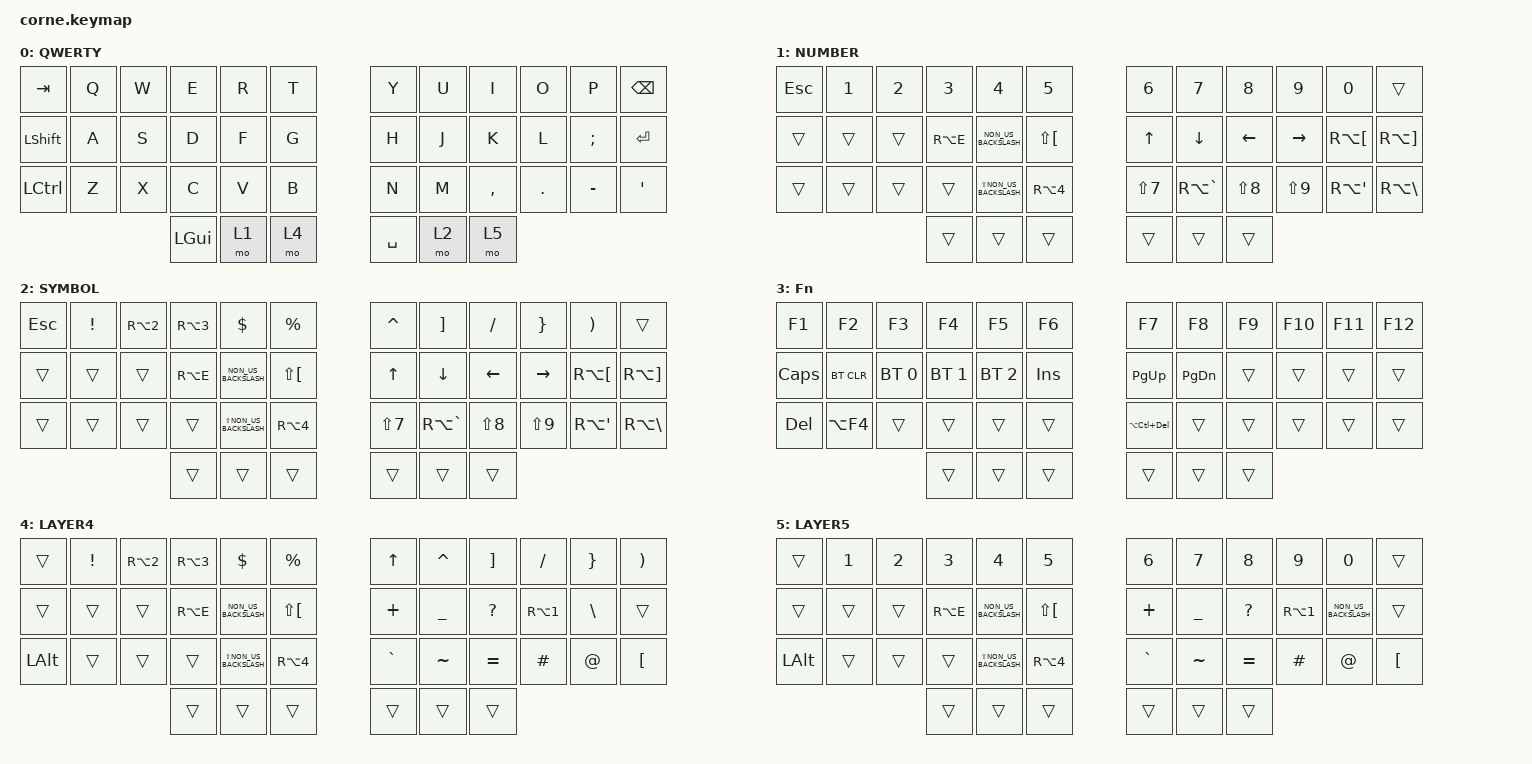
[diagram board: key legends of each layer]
#include <behaviors.dtsi>
#include <dt-bindings/zmk/bt.h>
#include <dt-bindings/zmk/keys.h>

/ {
    behaviors {
        td0: td0 {
            compatible = "zmk,behavior-tap-dance";
            display-name = "Shift/Caps Lock Tap Dance";
            #binding-cells = <0>;
            bindings = <&kp LEFT_SHIFT>, <&kp CAPS>;
        };
    };

    combos {
        compatible = "zmk,combos";

        // Example: Optional combo. If you don't want any, you can remove this block.
    };

    keymap {
        compatible = "zmk,keymap";

        default_layer {
            display-name = "QWERTY";
            bindings = <
&kp TAB         &kp Q  &kp W  &kp E     &kp R  &kp T    &kp Y      &kp U  &kp I      &kp O    &kp P      &kp BSPC
&kp LEFT_SHIFT  &kp A  &kp S  &kp D     &kp F  &kp G    &kp H      &kp J  &kp K      &kp L    &kp SEMI   &kp ENTER
&kp LCTRL       &kp Z  &kp X  &kp C     &kp V  &kp B    &kp N      &kp M  &kp COMMA  &kp DOT  &kp MINUS  &kp SQT
                              &kp LGUI  &mo 1  &mo 4    &kp SPACE  &mo 2  &mo 5
            >;
        };

        lower_layer {
            display-name = "NUMBER";
            bindings = <
&kp ESCAPE  &kp N1  &kp N2  &kp N3     &kp N4                    &kp N5                  &kp N6            &kp N7         &kp N8          &kp N9      &kp N0                &trans
&trans      &trans  &trans  &kp RA(E)  &kp NON_US_BACKSLASH      &kp LS(LEFT_BRACKET)    &kp UP_ARROW      &kp DOWN       &kp LEFT_ARROW  &kp RIGHT   &kp RA(LEFT_BRACKET)  &kp RA(RIGHT_BRACKET)
&trans      &trans  &trans  &trans     &kp LS(NON_US_BACKSLASH)  &kp RA(NUMBER_4)        &kp LS(NUMBER_7)  &kp RA(GRAVE)  &kp LS(N8)      &kp LS(N9)  &kp RA(SQT)           &kp RA(BACKSLASH)
                            &trans     &trans                    &trans                  &trans            &trans         &trans
            >;
        };

        raise_layer {
            display-name = "SYMBOL";
            bindings = <
&kp ESC  &kp EXCLAMATION  &kp RA(NUMBER_2)  &kp RA(NUMBER_3)  &kp DOLLAR                &kp PRCNT               &kp CARET     &kp RIGHT_BRACKET  &kp SLASH   &kp RIGHT_BRACE  &kp RPAR              &trans
&trans   &trans           &trans            &kp RA(E)         &kp NON_US_BACKSLASH      &kp LS(LEFT_BRACKET)    &kp UP_ARROW  &kp DOWN           &kp LEFT    &kp RIGHT        &kp RA(LEFT_BRACKET)  &kp RA(RIGHT_BRACKET)
&trans   &trans           &trans            &trans            &kp LS(NON_US_BACKSLASH)  &kp RA(NUMBER_4)        &kp LS(N7)    &kp RA(GRAVE)      &kp LS(N8)  &kp LS(N9)       &kp RA(SQT)           &kp RA(BACKSLASH)
                                            &trans            &trans                    &trans                  &trans        &trans             &trans
            >;
        };

        layer_3 {
            display-name = "Fn";
            bindings = <
&kp F1    &kp F2      &kp F3        &kp F4        &kp F5        &kp F6     &kp F7              &kp F8         &kp F9  &kp F10  &kp F11  &kp F12
&kp CAPS  &bt BT_CLR  &bt BT_SEL 0  &bt BT_SEL 1  &bt BT_SEL 2  &kp INS    &kp PAGE_UP         &kp PAGE_DOWN  &trans  &trans   &trans   &trans
&kp DEL   &kp LA(F4)  &trans        &trans        &trans        &trans     &kp LA(LC(DELETE))  &trans         &trans  &trans   &trans   &trans
                                    &trans        &trans        &trans     &trans              &trans         &trans
            >;
        };

        layer_4 {
            display-name = "LAYER4";
            bindings = <
&trans    &kp EXCLAMATION  &kp RA(NUMBER_2)  &kp RA(NUMBER_3)  &kp DOLLAR                &kp PERCENT             &kp UP_ARROW  &kp CARET       &kp RIGHT_BRACKET  &kp SLASH         &kp RIGHT_BRACE  &kp RIGHT_PARENTHESIS
&trans    &trans           &trans            &kp RA(E)         &kp NON_US_BACKSLASH      &kp LS(LEFT_BRACKET)    &kp PLUS      &kp UNDERSCORE  &kp QUESTION       &kp RA(NUMBER_1)  &kp BACKSLASH    &trans
&kp LALT  &trans           &trans            &trans            &kp LS(NON_US_BACKSLASH)  &kp RA(NUMBER_4)        &kp GRAVE     &kp TILDE       &kp EQUAL          &kp HASH          &kp AT_SIGN      &kp LEFT_BRACKET
                                             &trans            &trans                    &trans                  &trans        &trans          &trans
            >;
        };

        layer_5 {
            display-name = "LAYER5";
            bindings = <
&trans    &kp NUMBER_1  &kp NUMBER_2  &kp NUMBER_3  &kp NUMBER_4              &kp N5                  &kp NUMBER_6  &kp N7          &kp N8        &kp N9            &kp N0                &trans
&trans    &trans        &trans        &kp RA(E)     &kp NON_US_BACKSLASH      &kp LS(LEFT_BRACKET)    &kp PLUS      &kp UNDERSCORE  &kp QUESTION  &kp RA(NUMBER_1)  &kp NON_US_BACKSLASH  &trans
&kp LALT  &trans        &trans        &trans        &kp LS(NON_US_BACKSLASH)  &kp RA(NUMBER_4)        &kp GRAVE     &kp TILDE       &kp EQUAL     &kp HASH          &kp AT_SIGN           &kp LEFT_BRACKET
                                      &trans        &trans                    &trans                  &trans        &trans          &trans
            >;
        };
    };

    conditional_layers {
        compatible = "zmk,conditional-layers";

        tri_layer {
            if-layers = <1 2>;
            then-layer = <3>;
        };
    };
};
